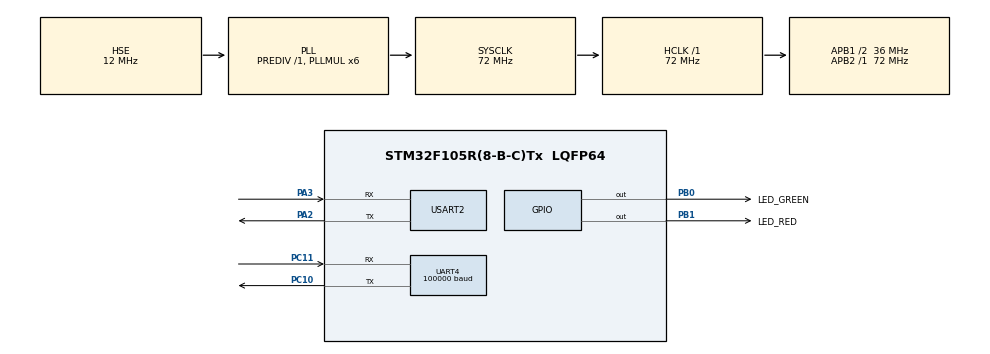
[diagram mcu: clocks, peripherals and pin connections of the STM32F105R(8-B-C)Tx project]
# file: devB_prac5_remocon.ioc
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Mcu.Family=STM32F1
Mcu.Name=STM32F105R(8-B-C)Tx
Mcu.Package=LQFP64
NVIC.PriorityGroup=NVIC_PRIORITYGROUP_4
NVIC.UART4_IRQn=true\:0\:0\:false\:false\:true\:true\:true
PA13.Mode=Serial_Wire
PA13.Signal=SYS_JTMS-SWDIO
PA14.Mode=Serial_Wire
PA14.Signal=SYS_JTCK-SWCLK
PA2.Mode=Asynchronous
PA2.Signal=USART2_TX
PA3.Mode=Asynchronous
PA3.Signal=USART2_RX
PB0.GPIO_Label=LED_GREEN
PB0.Signal=GPIO_Output
PB1.GPIO_Label=LED_RED
PB1.Signal=GPIO_Output
PC10.Mode=Asynchronous
PC10.Signal=UART4_TX
PC11.Mode=Asynchronous
PC11.Signal=UART4_RX
PD0-OSC_IN.Mode=HSE-External-Oscillator
PD0-OSC_IN.Signal=RCC_OSC_IN
PD1-OSC_OUT.Mode=HSE-External-Oscillator
PD1-OSC_OUT.Signal=RCC_OSC_OUT
ProjectManager.HeapSize=0x200
ProjectManager.StackSize=0x400
ProjectManager.TargetToolchain=STM32CubeIDE
RCC.AHBFreq_Value=72000000
RCC.APB1CLKDivider=RCC_HCLK_DIV2
RCC.APB1Freq_Value=36000000
RCC.APB1TimFreq_Value=72000000
RCC.APB2Freq_Value=72000000
RCC.APB2TimFreq_Value=72000000
RCC.HCLKFreq_Value=72000000
RCC.HSE_VALUE=12000000
RCC.PLLMUL=RCC_PLL_MUL6
RCC.PLLSourceVirtual=RCC_PLLSOURCE_HSE
RCC.SYSCLKFreq_VALUE=72000000
RCC.SYSCLKSource=RCC_SYSCLKSOURCE_PLLCLK
RCC.USBFreq_Value=48000000
UART4.BaudRate=100000
UART4.VirtualMode=Asynchronous
USART2.VirtualMode=VM_ASYNC
board=custom

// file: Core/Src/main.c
/* USER CODE BEGIN Header */
/**
  ******************************************************************************
  * @file           : main.c
  * @brief          : Main program body
  ******************************************************************************
  * @attention
  *
  * <h2><center>&copy; Copyright (c) 2020 STMicroelectronics.
  * All rights reserved.</center></h2>
  *
  * This software component is licensed by ST under BSD 3-Clause license,
  * the "License"; You may not use this file except in compliance with the
  * License. You may obtain a copy of the License at:
  *                        opensource.org/licenses/BSD-3-Clause
  *
  ******************************************************************************
  */
/* USER CODE END Header */
#include "main.h"

/* USER CODE BEGIN Includes */
#include "xprintf.h"
/* USER CODE END Includes */

UART_HandleTypeDef huart4;
UART_HandleTypeDef huart2;

/* USER CODE BEGIN PV */
struct rc_info_t{
  int16_t ch1;
  int16_t ch2;
  int16_t ch3;
  int16_t ch4;

  uint8_t sw1;
  uint8_t sw2;

  int16_t rol;
};
struct rc_info_t rc;
__uint8_t rcData[18];
/* USER CODE END PV */

void SystemClock_Config(void);
static void MX_GPIO_Init(void);
static void MX_USART2_UART_Init(void);
static void MX_UART4_Init(void);

/* USER CODE BEGIN 0 */
void uart_putc(uint8_t c){
	char buf[1];
	buf[0]=c;
	HAL_UART_Transmit(&huart2, (uint8_t *)buf, sizeof(buf), 0xFFFF);
}
void HAL_UART_RxCpltCallback(UART_HandleTypeDef *UartHandle) {
	if (UartHandle->Instance == huart4.Instance) {	//Propo-receive Interrupts
		HAL_UART_Receive_IT(&huart4, rcData, 18);
		//HAL_GPIO_TogglePin(LED_R_GPIO_Port, LED_R_Pin);
		rc.ch1 = (((rcData[1] & 0x07) << 8) | rcData[0]);
		rc.ch1 -= 1024;
		rc.ch2 = (((rcData[2] & 0x3F) << 5) | (rcData[1] >> 3));
		rc.ch2 -= 1024;
		rc.ch3 = (((rcData[4] & 0x01) << 10) | (rcData[3] << 2)
				| (rcData[2] >> 6));
		rc.ch3 -= 1024;
		rc.ch4 = (((rcData[5] & 0x0F) << 7) | (rcData[4] >> 1));
		rc.ch4 -= 1024;
		rc.sw1 = ((rcData[5] & 0x30) >> 4);
		rc.sw2 = ((rcData[5] & 0xC0) >> 6);
		rc.rol = ((rcData[17] << 8) | rcData[16]) - 1024;
	}
}
/* USER CODE END 0 */

int main(void)
{
  /* USER CODE BEGIN 1 */

	xdev_out(uart_putc);
  /* USER CODE END 1 */

  /* MCU Configuration--------------------------------------------------------*/

  /* Reset of all peripherals, Initializes the Flash interface and the Systick. */
  HAL_Init();

  /* Configure the system clock */
  SystemClock_Config();

  /* Initialize all configured peripherals */
  MX_GPIO_Init();
  MX_USART2_UART_Init();
  MX_UART4_Init();
  /* USER CODE BEGIN 2 */
  HAL_UART_Receive_IT(&huart4, rcData, 18);
  /* USER CODE END 2 */

  /* Infinite loop */
  /* USER CODE BEGIN WHILE */
  while (1)
  {
	  xprintf("rc.ch1->%d\r\n",rc.ch1);
	  xprintf("rc.ch2->%d\r\n",rc.ch2);
	  xprintf("rc.ch3->%d\r\n",rc.ch3);
	  xprintf("rc.ch4->%d\r\n",rc.ch4);
	  xprintf("rc.sw1->%d\r\n",rc.sw1);
	  xprintf("rc.sw2->%d\r\n",rc.sw2);
	  xprintf("rc.rol->%d\r\n",rc.rol);
	  HAL_Delay(30);
    /* USER CODE END WHILE */

  }
}

void SystemClock_Config(void)
{
  RCC_OscInitTypeDef RCC_OscInitStruct = {0};
  RCC_ClkInitTypeDef RCC_ClkInitStruct = {0};

  /** Initializes the RCC Oscillators according to the specified parameters
  * in the RCC_OscInitTypeDef structure.
  */
  RCC_OscInitStruct.OscillatorType = RCC_OSCILLATORTYPE_HSE;
  RCC_OscInitStruct.HSEState = RCC_HSE_ON;
  RCC_OscInitStruct.HSEPredivValue = RCC_HSE_PREDIV_DIV1;
  RCC_OscInitStruct.HSIState = RCC_HSI_ON;
  RCC_OscInitStruct.Prediv1Source = RCC_PREDIV1_SOURCE_HSE;
  RCC_OscInitStruct.PLL.PLLState = RCC_PLL_ON;
  RCC_OscInitStruct.PLL.PLLSource = RCC_PLLSOURCE_HSE;
  RCC_OscInitStruct.PLL.PLLMUL = RCC_PLL_MUL6;
  RCC_OscInitStruct.PLL2.PLL2State = RCC_PLL_NONE;
  if (HAL_RCC_OscConfig(&RCC_OscInitStruct) != HAL_OK)
  {
    Error_Handler();
  }
  /** Initializes the CPU, AHB and APB buses clocks
  */
  RCC_ClkInitStruct.ClockType = RCC_CLOCKTYPE_HCLK|RCC_CLOCKTYPE_SYSCLK
                              |RCC_CLOCKTYPE_PCLK1|RCC_CLOCKTYPE_PCLK2;
  RCC_ClkInitStruct.SYSCLKSource = RCC_SYSCLKSOURCE_PLLCLK;
  RCC_ClkInitStruct.AHBCLKDivider = RCC_SYSCLK_DIV1;
  RCC_ClkInitStruct.APB1CLKDivider = RCC_HCLK_DIV2;
  RCC_ClkInitStruct.APB2CLKDivider = RCC_HCLK_DIV1;

  if (HAL_RCC_ClockConfig(&RCC_ClkInitStruct, FLASH_LATENCY_2) != HAL_OK)
  {
    Error_Handler();
  }
  /** Configure the Systick interrupt time
  */
  __HAL_RCC_PLLI2S_ENABLE();
}

static void MX_UART4_Init(void)
{

  huart4.Instance = UART4;
  huart4.Init.BaudRate = 100000;
  huart4.Init.WordLength = UART_WORDLENGTH_8B;
  huart4.Init.StopBits = UART_STOPBITS_1;
  huart4.Init.Parity = UART_PARITY_NONE;
  huart4.Init.Mode = UART_MODE_TX_RX;
  huart4.Init.HwFlowCtl = UART_HWCONTROL_NONE;
  huart4.Init.OverSampling = UART_OVERSAMPLING_16;
  if (HAL_UART_Init(&huart4) != HAL_OK)
  {
    Error_Handler();
  }

}

static void MX_USART2_UART_Init(void)
{

  huart2.Instance = USART2;
  huart2.Init.BaudRate = 115200;
  huart2.Init.WordLength = UART_WORDLENGTH_8B;
  huart2.Init.StopBits = UART_STOPBITS_1;
  huart2.Init.Parity = UART_PARITY_NONE;
  huart2.Init.Mode = UART_MODE_TX_RX;
  huart2.Init.HwFlowCtl = UART_HWCONTROL_NONE;
  huart2.Init.OverSampling = UART_OVERSAMPLING_16;
  if (HAL_UART_Init(&huart2) != HAL_OK)
  {
    Error_Handler();
  }

}

static void MX_GPIO_Init(void)
{
  GPIO_InitTypeDef GPIO_InitStruct = {0};

  /* GPIO Ports Clock Enable */
  __HAL_RCC_GPIOD_CLK_ENABLE();
  __HAL_RCC_GPIOA_CLK_ENABLE();
  __HAL_RCC_GPIOB_CLK_ENABLE();
  __HAL_RCC_GPIOC_CLK_ENABLE();

  /*Configure GPIO pin Output Level */
  HAL_GPIO_WritePin(GPIOB, LED_GREEN_Pin|LED_RED_Pin, GPIO_PIN_RESET);

  /*Configure GPIO pins : LED_GREEN_Pin LED_RED_Pin */
  GPIO_InitStruct.Pin = LED_GREEN_Pin|LED_RED_Pin;
  GPIO_InitStruct.Mode = GPIO_MODE_OUTPUT_PP;
  GPIO_InitStruct.Pull = GPIO_NOPULL;
  GPIO_InitStruct.Speed = GPIO_SPEED_FREQ_LOW;
  HAL_GPIO_Init(GPIOB, &GPIO_InitStruct);

}

void Error_Handler(void)
{
}

/************************ (C) COPYRIGHT STMicroelectronics *****END OF FILE****/
